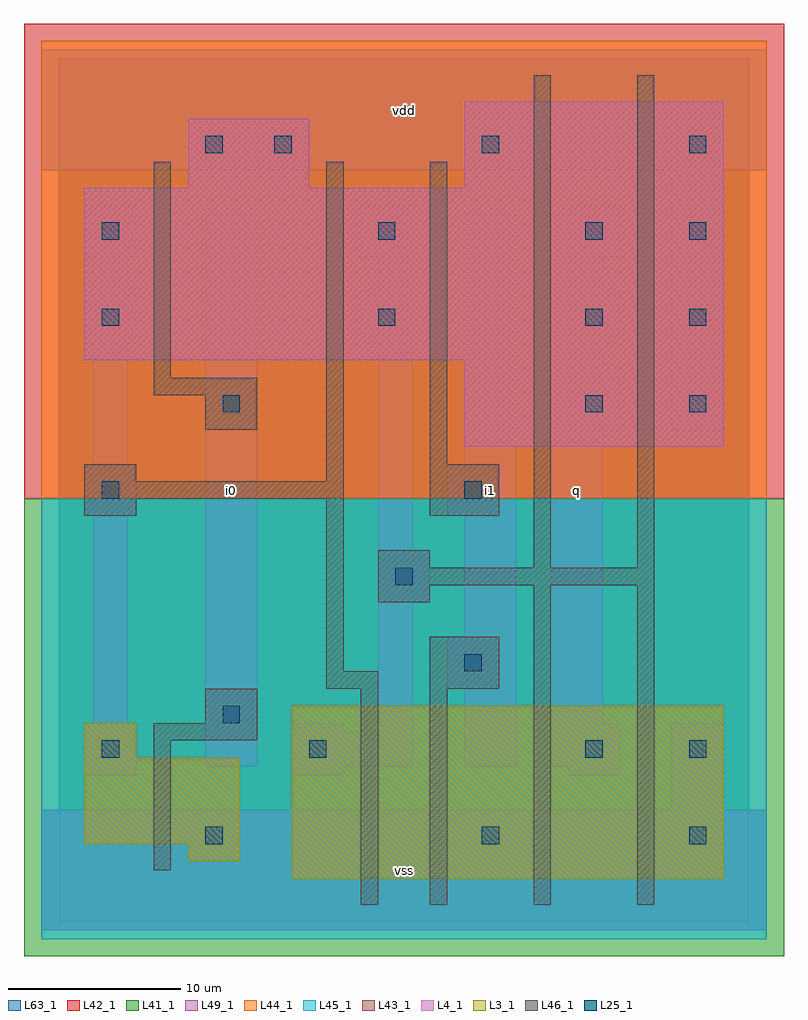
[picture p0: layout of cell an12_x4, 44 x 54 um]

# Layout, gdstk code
import gdstk
lib = gdstk.Library(unit=1e-6, precision=1e-09)
def R(c, l, rs):  # rectangles x0, y0, x1, y1
    for r in rs: c.add(gdstk.rectangle(r[:2], r[2:], *l))
def A(c, l, x, y, w, h, nx, ny, dx, dy):  # array of equal rectangles
    R(c, l, [(x+i*dx, y+j*dy, x+i*dx+w, y+j*dy+h) for i in range(nx) for j in range(ny)])
L3_1 = (3, 1)
L4_1 = (4, 1)
L25_1 = (25, 1)
L41_1 = (41, 1)
L42_1 = (42, 1)
L43_1 = (43, 1)
L44_1 = (44, 1)
L45_1 = (45, 1)
L46_1 = (46, 1)
L49_1 = (49, 1)
L63_1 = (63, 1)

an12_x4 = lib.new_cell('an12_x4')
R(an12_x4, L3_1, [(13.5,2.5,38.5,12.5), (7.5,3.5,10.5,4.5), (1.5,4.5,10.5,9.5), (1.5,9.5,4.5,11.5)])
R(an12_x4, L4_1, [(23.5,27.5,38.5,32.5), (1.5,32.5,38.5,42.5), (7.5,42.5,14.5,46.5), (23.5,42.5,38.5,47.5)])
A(an12_x4, L25_1, 30.5, 29.5, 1, 1, 1, 3, 0, 5)
A(an12_x4, L25_1, 36.5, 29.5, 1, 1, 1, 3, 0, 5)
A(an12_x4, L25_1, 12.5, 44.5, 1, 1, 3, 1, 12, 0)
R(an12_x4, L25_1, [(8.5,4.5,9.5,5.5), (24.5,4.5,25.5,5.5), (36.5,4.5,37.5,5.5), (2.5,9.5,3.5,10.5), (14.5,9.5,15.5,10.5), (30.5,9.5,31.5,10.5), (36.5,9.5,37.5,10.5), (9.5,11.5,10.5,12.5), (23.5,14.5,24.5,15.5), (19.5,19.5,20.5,20.5), (2.5,24.5,3.5,25.5), (23.5,24.5,24.5,25.5), (9.5,29.5,10.5,30.5), (2.5,34.5,3.5,35.5), (18.5,34.5,19.5,35.5), (2.5,39.5,3.5,40.5), (18.5,39.5,19.5,40.5), (8.5,44.5,9.5,45.5)])
R(an12_x4, L41_1, [(-2,-2,42,24.5)])
R(an12_x4, L42_1, [(-2,24.5,42,52)])
R(an12_x4, L43_1, [(13.5,2.5,38.5,12.5), (7.5,3.5,10.5,4.5), (1.5,4.5,10.5,9.5), (1.5,9.5,4.5,11.5), (23.5,27.5,38.5,32.5), (1.5,32.5,38.5,42.5), (7.5,42.5,14.5,46.5), (23.5,42.5,38.5,47.5)])
R(an12_x4, L44_1, [(-1,24.5,41,51)])
R(an12_x4, L45_1, [(-1,-1,41,24.5)])
R(an12_x4, L46_1, [(17.5,1,18.5,13.5), (21.5,1,22.5,13.5), (27.5,1,28.5,19.5), (33.5,1,34.5,19.5), (5.5,3,6.5,10.5), (5.5,10.5,11.5,11.5), (8.5,11.5,11.5,13.5), (15.5,13.5,18.5,14.5), (21.5,13.5,25.5,16.5), (15.5,14.5,16.5,24.5), (18.5,18.5,21.5,19.5), (18.5,19.5,34.5,20.5), (18.5,20.5,21.5,21.5), (27.5,20.5,28.5,49), (33.5,20.5,34.5,49), (1.5,23.5,4.5,24.5), (21.5,23.5,25.5,26.5), (1.5,24.5,16.5,25.5), (1.5,25.5,4.5,26.5), (15.5,25.5,16.5,44), (21.5,26.5,22.5,44), (8.5,28.5,11.5,30.5), (5.5,30.5,11.5,31.5), (5.5,31.5,6.5,44)])
R(an12_x4, L49_1, [(-1,-0.5,41,6.5), (35.5,6.5,38.5,11.5), (1.5,8.5,4.5,11.5), (13.5,8.5,16.5,9), (29.5,8.5,32.5,9), (8.5,9,11.5,41), (13.5,9,20.5,11), (23.5,9,26.5,13.5), (28.5,9,32.5,11.5), (13.5,11,16.5,11.5), (18.5,11,20.5,18.5), (2,11.5,4,23.5), (28.5,11.5,31.5,28.5), (22.5,13.5,26.5,16.5), (23.5,16.5,26.5,23.5), (18.5,18.5,21.5,21.5), (18.5,21.5,20.5,33.5), (1.5,23.5,4.5,26.5), (22.5,23.5,26.5,26.5), (2,26.5,4,33.5), (23.5,26.5,26.5,41), (28.5,28.5,32.5,31.5), (35.5,28.5,38.5,43.5), (28.5,31.5,31.5,33.5), (1.5,33.5,4.5,36.5), (17.5,33.5,20.5,36.5), (28.5,33.5,32.5,36.5), (2,36.5,4,38.5), (18.5,36.5,20.5,38.5), (28.5,36.5,31.5,38.5), (1.5,38.5,4.5,41.5), (17.5,38.5,20.5,41.5), (28.5,38.5,32.5,41), (29.5,41,32.5,41.5), (-1,43.5,41,50.5)])
R(an12_x4, L63_1, [(0,0,40,50)])
an12_x4.add(gdstk.Label('i0', (10,25), layer=49, texttype=1))
an12_x4.add(gdstk.Label('i0', (10,25), layer=49, texttype=1))
an12_x4.add(gdstk.Label('vss', (20,3), layer=49, texttype=1))
an12_x4.add(gdstk.Label('vss', (20,3), layer=49, texttype=1))
an12_x4.add(gdstk.Label('i1', (25,25), layer=49, texttype=1))
an12_x4.add(gdstk.Label('q', (30,25), layer=49, texttype=1))
an12_x4.add(gdstk.Label('i1', (25,25), layer=49, texttype=1))
an12_x4.add(gdstk.Label('q', (30,25), layer=49, texttype=1))
an12_x4.add(gdstk.Label('vdd', (20,47), layer=49, texttype=1))
an12_x4.add(gdstk.Label('vdd', (20,47), layer=49, texttype=1))

lib.write_gds('an12_x4.gds')
